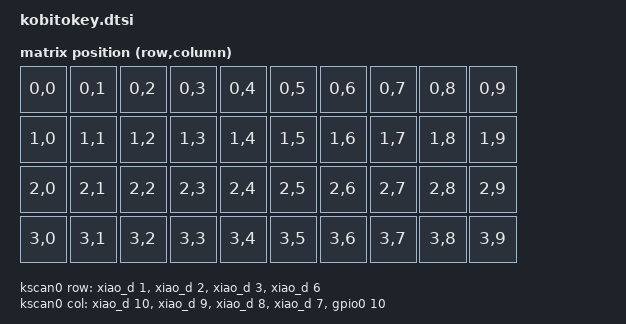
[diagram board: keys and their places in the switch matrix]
#include <dt-bindings/zmk/matrix_transform.h>
#include <dt-bindings/zmk/input_transform.h>
#include "KobitoKey-layouts.dtsi"

/ {
    /* 行列スキャン：rowは左右共通、colは左右で分ける */
    kscan0: kscan0 {
        compatible = "zmk,kscan-gpio-matrix";
        diode-direction = "col2row";
        wakeup-source;

        row-gpios = <&xiao_d 1 (GPIO_ACTIVE_HIGH | GPIO_PULL_DOWN)>,
                    <&xiao_d 2 (GPIO_ACTIVE_HIGH | GPIO_PULL_DOWN)>,
                    <&xiao_d 3 (GPIO_ACTIVE_HIGH | GPIO_PULL_DOWN)>,
                    <&xiao_d 6 (GPIO_ACTIVE_HIGH | GPIO_PULL_DOWN)>;
        col-gpios = <&xiao_d 10 GPIO_ACTIVE_HIGH>, 
                    <&xiao_d 9 GPIO_ACTIVE_HIGH> , 
                    <&xiao_d 8 GPIO_ACTIVE_HIGH> , 
                    <&xiao_d 7 GPIO_ACTIVE_HIGH> , 
                    <&gpio0 10 GPIO_ACTIVE_HIGH> ; 
    };

    /* 左右合体で 4行×10列（左0..4, 右5..9） */
    default_transform: keymap_transform0 {
        compatible = "zmk,matrix-transform";
        rows = <4>;
        columns = <10>;
        map = <
            RC(0,0) RC(0,1) RC(0,2) RC(0,3) RC(0,4)   RC(0,5) RC(0,6) RC(0,7) RC(0,8) RC(0,9)
            RC(1,0) RC(1,1) RC(1,2) RC(1,3) RC(1,4)   RC(1,5) RC(1,6) RC(1,7) RC(1,8) RC(1,9)
            RC(2,0) RC(2,1) RC(2,2) RC(2,3) RC(2,4)   RC(2,5) RC(2,6) RC(2,7) RC(2,8) RC(2,9)
            RC(3,0) RC(3,1) RC(3,2) RC(3,3) RC(3,4)   RC(3,5) RC(3,6) RC(3,7) RC(3,8) RC(3,9)
        >;
    };

    /* 左側トラックボールを split 入力として扱う（ID=0） */
    split_inputs {
        #address-cells = <1>;
        #size-cells = <0>;

        tb_left_split: tb_left_split@0 {
            compatible = "zmk,input-split";
            reg = <0>;
        };
    };

    /* リスナー（中央で有効化。周辺から来た入力もここで処理） */
    tb_left_listener: tb_left_listener {
        compatible = "zmk,input-listener";
        status = "disabled";
        device = <&tb_left_split>;
    };

    tb_right_listener: tb_right_listener {
        compatible = "zmk,input-listener";
        status = "disabled";
    };

    /* デフォルトの物理レイアウト定義。KobitoKey-layouts.dtsi の情報を活用 */
    physical_layout0: physical_layout_0 {
        compatible = "zmk,physical-layout";
        display-name = "Default Layout";
        kscan = <&kscan0>;
        transform = <&default_transform>;
    };

    chosen {
        zmk,physical-layout = &physical_layout0;
    };
};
